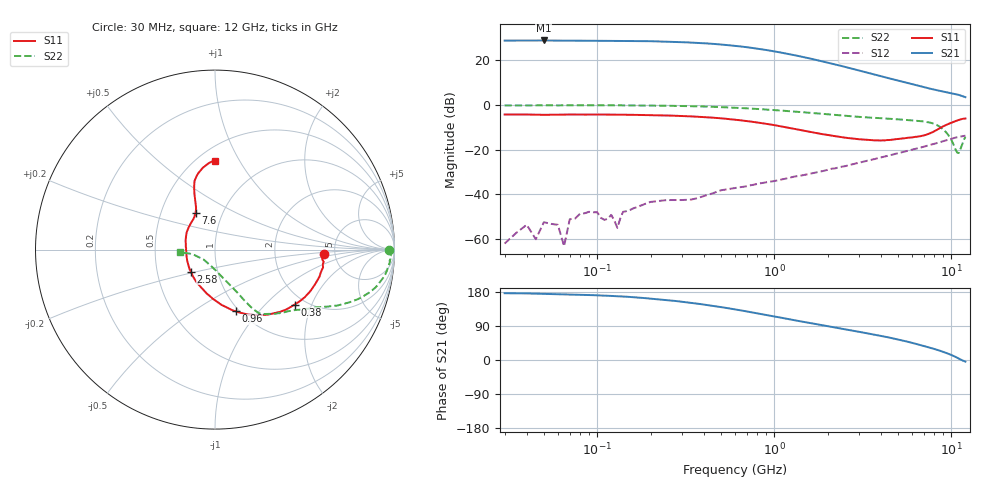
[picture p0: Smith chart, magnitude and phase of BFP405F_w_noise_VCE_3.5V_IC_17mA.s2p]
! Infineon Technologies  Discrete & RF Semiconductors
! BFP405F
! VCE =  3.5 V,  IC =  17 mA
! Common Emitter S-Parameters:  Nov 2015
# GHz  S  MA  R  50
!  f  S11  S21  S12  S22
! GHz  MAG  ANG  MAG  ANG  MAG  ANG  MAG  ANG
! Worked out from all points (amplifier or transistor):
!   239 points, 30 MHz to 12 GHz, reference 50 ohm
!   highest |S21| = 28.8 dB at 50 MHz (marker M1)
!   |S21| within 3 dB of that: start of sweep to 699.9 MHz
!   unconditionally stable (mu >= 1): 44.66 MHz to 45.64 MHz; 1.863 GHz to end of sweep
!   at 300 MHz: K = 0.19, MSG = 35.3 dB, |S12| = -42.5 dB
!   at 1.88 GHz: K = 1.01, MAG = 24.0 dB, |S12| = -29.6 dB
!   at 12 GHz: K = 1.37, MAG = 5.0 dB, |S12| = -13.8 dB
!   lowest NFmin = 2.08 dB at 450 MHz
!   S11 on the Smith chart (normalised r, x): 30 MHz: 4.09, -0.30; 380 MHz: 1.76, -1.52; 960 MHz: 0.96, -0.76; 2.58 GHz: 0.74, -0.19; 7.6 GHz: 0.74, +0.33; 12 GHz: 0.60, +0.79
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0.03  0.609 -2.2  27.29 176.2  0.0008 104.3  0.9703 -0.2
0.05  0.5993 -4.8  27.43 174.5  0.0024 -35.8  0.9786 -1.2
0.06  0.6028 -5.6  27.18 173.9  0.0021 -23.7  0.9732 -1.3
0.065  0.6062 -6.0  27.16 173.3  0.0007 77.4  0.9771 -1.6
0.07  0.6097 -6.4  27.15 172.6  0.0028 124.8  0.981 -1.9
0.085  0.6072 -8.2  27.02 171.7  0.0038 82.2  0.9774 -2.6
0.13  0.6026 -12.5  26.77 168.1  0.0018 97.4  0.9743 -4.6
0.145  0.6019 -14.0  26.75 167.2  0.0042 78.3  0.9733 -4.9
0.24  0.5811 -22.8  25.85 158.8  0.0074 82.7  0.9582 -8.4
0.3  0.5656 -28.1  25.19 153.8  0.0075 89.4  0.9429 -10.3
0.38  0.5393 -34.6  24.05 147.8  0.0086 79.2  0.9237 -12.7
0.46  0.5148 -40.8  22.9 142.3  0.011 75.5  0.9016 -14.7
0.6  0.4672 -50.9  20.79 133.4  0.0139 75.5  0.8625 -17.8
0.7  0.4355 -57.1  19.41 128.1  0.0153 72.4  0.8364 -19.5
0.96  0.3625 -71.5  16.11 116.4  0.0194 71.1  0.7733 -23.2
1.3  0.2903 -87.7  12.87 104.8  0.0251 71.1  0.7081 -26.6
1.64  0.2445 -102.1  10.56 96.5  0.0297 70.7  0.6585 -29.2
2.58  0.1822 -137.6  6.846 80.0  0.044 68.8  0.5653 -36.5
4.5  0.1648 170.9  3.872 58.8  0.0752 63.8  0.4899 -46.7
7.6  0.2332 117.6  2.295 32.3  0.1269 50.9  0.4005 -56.9
10.8  0.4485 100.3  1.702 5.8  0.1901 32.4  0.0856 -117.9
12  0.496 90.3  1.486 -4.3  0.2051 25.3  0.1952 -175.5
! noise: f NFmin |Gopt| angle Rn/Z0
0.45  2.08  0.07  0  0.34
0.9  2.1  0.06  2  0.36
1.5  2.15  0.05  1  0.23
1.9  2.21  0.03  -15  0.22
2.4  2.35  0.02  -69  0.34
3  2.44  0.03  -103  0.11
3.5  2.5  0.05  -109  0.28
4.5  2.72  0.11  -100  0.41
5.5  3  0.19  -88  0.37
